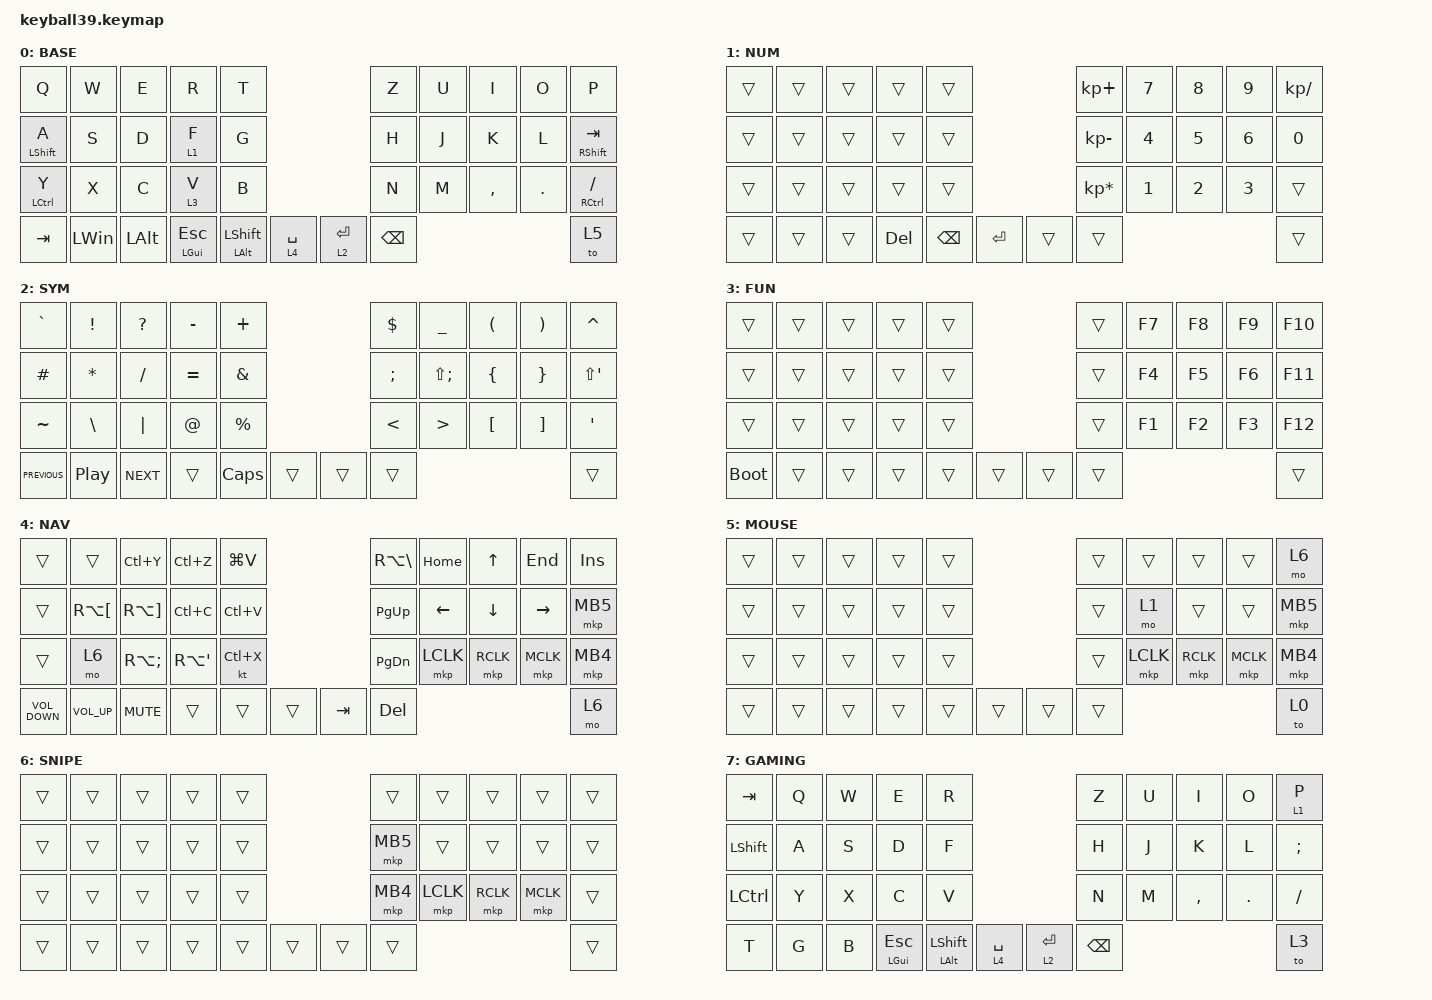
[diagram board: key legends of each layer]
#define DEFAULT 0
#define NUM     1
#define SYM     2
#define FUN     3
#define NAV     4
#define MOUSE   5
#define SNIPE   6

#include <behaviors/mouse_keys.dtsi>
#include <dt-bindings/zmk/mouse.h>
#include <behaviors.dtsi>
#include <dt-bindings/zmk/keys.h>
#include <dt-bindings/zmk/pointing.h>

&lt {
    tapping-term-ms = <240>;
    flavor = "balanced";
    quick-tap-ms = <150>;
};

&mt {
    tapping-term-ms = <200>;
    flavor = "tap-preferred";
    quick-tap-ms = <150>;
};

&caps_word { continue-list = <UNDERSCORE MINUS>; };

/ {
    // custom shift using mod-morph 

    behaviors {
        cmqus: comma_question {
            compatible = "zmk,behavior-mod-morph";
            label = "COMMA_QUESTION";
            #binding-cells = <0>;
            bindings = <&kp COMMA>, <&kp QUESTION>;

            mods = <(MOD_LSFT|MOD_RSFT)>;
        };

        dtsmi: dot_semi {
            compatible = "zmk,behavior-mod-morph";
            label = "DOT_SEMI";
            #binding-cells = <0>;
            bindings = <&kp DOT>, <&kp SEMI>;

            mods = <(MOD_LSFT|MOD_RSFT)>;
        };

        hm: home_row_mod {
            compatible = "zmk,behavior-hold-tap";
            label = "home_row_mod";
            bindings = <&kp>, <&kp>;

            #binding-cells = <2>;
            tapping-term-ms = <190>;
            quick-tap-ms = <175>;
            require-prior-idle-ms = <0>;
            flavor = "balanced";
        };

        of: one_off {
            compatible = "zmk,behavior-sticky-key";
            label = "one_off";
            bindings = <&kp>;
            #binding-cells = <1>;
            release-after-ms = <3000>;
            quick-release;
            ignore-modifiers;
        };

        st: sticky_tap {
            compatible = "zmk,behavior-hold-tap";
            label = "sticky_tap";
            bindings = <&kp>, <&of>;

            #binding-cells = <2>;
            tapping-term-ms = <160>;
            quick-tap-ms = <175>;
            require-prior-idle-ms = <0>;
            flavor = "tap-preferred";
        };

        hl: hl {
            compatible = "zmk,behavior-hold-tap";
            label = "HL";
            bindings = <&mo>, <&kp>;

            #binding-cells = <2>;
            tapping-term-ms = <190>;
            quick-tap-ms = <175>;
            require-prior-idle-ms = <0>;
            flavor = "balanced";
        };

        ml: ml {
            compatible = "zmk,behavior-hold-tap";
            label = "ML";
            bindings = <&kp>, <&to>;

            #binding-cells = <2>;
            tapping-term-ms = <190>;
            quick-tap-ms = <175>;
            require-prior-idle-ms = <0>;
            flavor = "balanced";
        };
    };

    macros {
        Hiragana: Hiragana {
            compatible = "zmk,behavior-macro";
            #binding-cells = <0>;
            bindings = <&kp LC(SPACE)>;
            label = "HIRAGANA";
        };
    };

    combos {
        compatible = "zmk,combos";

        to_gaming {
            bindings = <&to 7>;
            key-positions = <30 38>;
            layers = <0>;
        };

        to_base {
            bindings = <&to 0>;
            key-positions = <30 38>;
            layers = <7>;
        };
    };

    keymap {
        compatible = "zmk,keymap";

        default_layer {
            label = "BASE";
            bindings = <
&kp Q             &kp W         &kp E     &kp R                &kp T                                          &kp Z          &kp U  &kp I      &kp O    &kp P
&hm LEFT_SHIFT A  &kp S         &kp D     &hl 1 F              &kp G                                          &kp H          &kp J  &kp K      &kp L    &hm RIGHT_SHIFT TAB
&hm LCTRL Y       &kp X         &kp C     &hl 3 V              &kp B                                          &kp N          &kp M  &kp COMMA  &kp DOT  &hm RCTRL SLASH
&kp TAB           &kp LEFT_WIN  &kp LALT  &mt LEFT_GUI ESCAPE  &st LALT LEFT_SHIFT  &hl 4 SPACE  &hl 2 ENTER  &kp BACKSPACE                             &to 5
            >;
        };

        number_layer {
            label = "NUM";
            bindings = <
&trans  &trans  &trans  &trans      &trans                            &kp KP_PLUS      &kp NUMBER_7  &kp NUMBER_8  &kp NUMBER_9  &kp KP_SLASH
&trans  &trans  &trans  &trans      &trans                            &kp KP_MINUS     &kp NUMBER_4  &kp NUMBER_5  &kp NUMBER_6  &kp NUMBER_0
&trans  &trans  &trans  &trans      &trans                            &kp KP_MULTIPLY  &kp NUMBER_1  &kp NUMBER_2  &kp NUMBER_3  &trans
&trans  &trans  &trans  &kp DELETE  &kp BACKSPACE  &kp ENTER  &trans  &trans                                                     &trans
            >;
        };

        symbol_layer {
            label = "SYM";
            bindings = <
&kp GRAVE       &kp EXCLAMATION   &kp QUESTION  &kp MINUS  &kp PLUS                       &kp DOLLAR     &kp UNDERSCORE     &kp LEFT_PARENTHESIS  &kp RIGHT_PARENTHESIS  &kp CARET
&kp HASH        &kp ASTERISK      &kp SLASH     &kp EQUAL  &kp AMPERSAND                  &kp SEMICOLON  &kp LS(SEMICOLON)  &kp LEFT_BRACE        &kp RIGHT_BRACE        &kp LS(APOSTROPHE)
&kp TILDE       &kp BACKSLASH     &kp PIPE      &kp AT     &kp PERCENT                    &kp LESS_THAN  &kp GREATER_THAN   &kp LEFT_BRACKET      &kp RIGHT_BRACKET      &kp APOSTROPHE
&kp C_PREVIOUS  &kp C_PLAY_PAUSE  &kp C_NEXT    &trans     &kp CAPSLOCK   &trans  &trans  &trans                                                                         &trans
            >;
        };

        function_layer {
            label = "FUN";
            bindings = <
&trans       &trans  &trans  &trans  &trans                  &trans  &kp F7  &kp F8  &kp F9  &kp F10
&trans       &trans  &trans  &trans  &trans                  &trans  &kp F4  &kp F5  &kp F6  &kp F11
&trans       &trans  &trans  &trans  &trans                  &trans  &kp F1  &kp F2  &kp F3  &kp F12
&bootloader  &trans  &trans  &trans  &trans  &trans  &trans  &trans                          &trans
            >;
        };

        nav_layer {
            label = "NAV";
            bindings = <
&trans             &trans                &kp LC(Y)              &kp LC(Z)           &kp LG(V)                   &kp RA(BACKSLASH)  &kp HOME        &kp UP_ARROW    &kp END          &kp INSERT
&trans             &kp RA(LEFT_BRACKET)  &kp RA(RIGHT_BRACKET)  &kp LC(C)           &kp LC(V)                   &kp PAGE_UP        &kp LEFT_ARROW  &kp DOWN_ARROW  &kp RIGHT_ARROW  &mkp MB5
&trans             &mo 6                 &kp RA(SEMICOLON)      &kp RA(APOSTROPHE)  &kt LC(X)                   &kp PAGE_DOWN      &mkp LCLK       &mkp RCLK       &mkp MCLK        &mkp MB4
&kp C_VOLUME_DOWN  &kp C_VOLUME_UP       &kp K_MUTE             &trans              &trans     &trans  &kp TAB  &kp DELETE                                                          &mo 6
            >;
        };

        mouse_layer {
            label = "MOUSE";
            bindings = <
&trans  &trans  &trans  &trans  &trans                  &trans  &trans     &trans     &trans     &mo 6
&trans  &trans  &trans  &trans  &trans                  &trans  &mo 1      &trans     &trans     &mkp MB5
&trans  &trans  &trans  &trans  &trans                  &trans  &mkp LCLK  &mkp RCLK  &mkp MCLK  &mkp MB4
&trans  &trans  &trans  &trans  &trans  &trans  &trans  &trans                                   &to 0
            >;
        };

        snipe {
            label = "SNIPE";
            bindings = <
&trans  &trans  &trans  &trans  &trans                  &trans    &trans     &trans     &trans     &trans
&trans  &trans  &trans  &trans  &trans                  &mkp MB5  &trans     &trans     &trans     &trans
&trans  &trans  &trans  &trans  &trans                  &mkp MB4  &mkp LCLK  &mkp RCLK  &mkp MCLK  &trans
&trans  &trans  &trans  &trans  &trans  &trans  &trans  &trans                                     &trans
            >;
        };

        gaming {
            label = "GAMING";
            bindings = <
&kp TAB         &kp Q  &kp W  &kp E                &kp R                                          &kp Z          &kp U  &kp I      &kp O    &hl 1 P
&kp LEFT_SHIFT  &kp A  &kp S  &kp D                &kp F                                          &kp H          &kp J  &kp K      &kp L    &kp SEMI
&kp LCTRL       &kp Y  &kp X  &kp C                &kp V                                          &kp N          &kp M  &kp COMMA  &kp DOT  &kp SLASH
&kp T           &kp G  &kp B  &mt LEFT_GUI ESCAPE  &st LALT LEFT_SHIFT  &hl 4 SPACE  &hl 2 ENTER  &kp BACKSPACE                             &to 3
            >;
        };
    };
};
